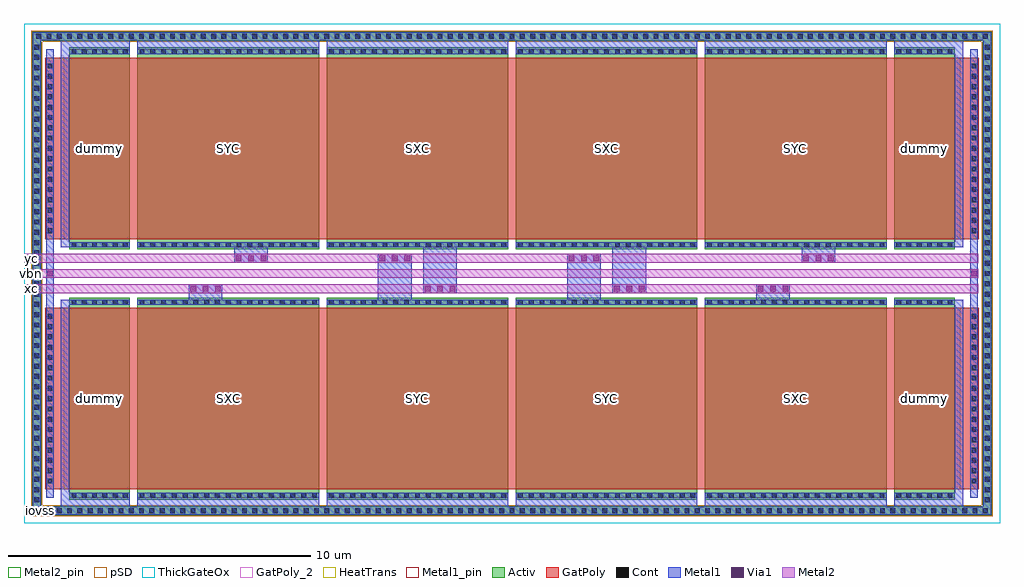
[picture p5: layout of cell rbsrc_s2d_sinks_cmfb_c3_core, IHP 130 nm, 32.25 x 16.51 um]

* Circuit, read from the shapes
.subckt rbsrc_s2d_sinks_cmfb_c3_core iovss vbn xc yc
XM1 iovss vbn iovss iovss sg13_hv_nmos w=2u l=6u m=4
XM2 xc vbn iovss iovss sg13_hv_nmos w=6u l=6u m=4
XM3 iovss vbn yc iovss sg13_hv_nmos w=6u l=6u m=4
.ends

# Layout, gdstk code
from math import pi, radians
import gdstk
lib = gdstk.Library(unit=1e-6, precision=1e-09)
def R(c, l, rs):  # rectangles x0, y0, x1, y1
    for r in rs: c.add(gdstk.rectangle(r[:2], r[2:], *l))
def A(c, l, x, y, w, h, nx, ny, dx, dy):  # array of equal rectangles
    R(c, l, [(x+i*dx, y+j*dy, x+i*dx+w, y+j*dy+h) for i in range(nx) for j in range(ny)])
Activ = (1, 0)
GatPoly = (5, 0)
GatPoly_2 = (5, 2)
Cont = (6, 0)
Metal1 = (8, 0)
Metal1_pin = (8, 2)
Metal2 = (10, 0)
Metal2_pin = (10, 2)
pSD = (14, 0)
Via1 = (19, 0)
ThickGateOx = (44, 0)
HeatTrans = (51, 0)

rbsrc_nhv_w6_l6 = lib.new_cell('rbsrc_nhv_w6_l6')
R(rbsrc_nhv_w6_l6, Activ, [(0,0,0.3,0.3), (0,0,6.68,6), (6.38,0,6.68,0.3)])
R(rbsrc_nhv_w6_l6, GatPoly, [(0.34,-0.18,6.34,6.18)])
R(rbsrc_nhv_w6_l6, GatPoly_2, [(0.34,-0.18,6.34,6.18)])
A(rbsrc_nhv_w6_l6, Cont, 0.07, 0.07, 0.16, 0.16, 1, 4, 0, 0.355)
A(rbsrc_nhv_w6_l6, Cont, 6.45, 0.07, 0.16, 0.16, 1, 4, 0, 0.355)
A(rbsrc_nhv_w6_l6, Cont, 0.07, 1.495, 0.16, 0.16, 1, 4, 0, 0.355)
A(rbsrc_nhv_w6_l6, Cont, 6.45, 1.495, 0.16, 0.16, 1, 4, 0, 0.355)
A(rbsrc_nhv_w6_l6, Cont, 0.07, 2.92, 0.16, 0.16, 1, 4, 0, 0.355)
A(rbsrc_nhv_w6_l6, Cont, 6.45, 2.92, 0.16, 0.16, 1, 4, 0, 0.355)
A(rbsrc_nhv_w6_l6, Cont, 0.07, 4.345, 0.16, 0.16, 1, 4, 0, 0.355)
A(rbsrc_nhv_w6_l6, Cont, 6.45, 4.345, 0.16, 0.16, 1, 4, 0, 0.355)
R(rbsrc_nhv_w6_l6, Cont, [(0.07,5.77,0.23,5.93), (6.45,5.77,6.61,5.93)])
R(rbsrc_nhv_w6_l6, Metal1, [(0.07,0,0.23,6), (6.45,0,6.61,6)])
R(rbsrc_nhv_w6_l6, Metal1_pin, [(0.07,0,0.23,6), (6.45,0,6.61,6)])
R(rbsrc_nhv_w6_l6, ThickGateOx, [(-0.27,-0.52,6.95,6.52)])
R(rbsrc_nhv_w6_l6, HeatTrans, [(0.34,-0.18,6.34,6.18)])
rbsrc_nhv_w6_l6.add(gdstk.Label('nmosHV', (3.34,3), layer=63, texttype=0))
rbsrc_nhv_w6_l6.add(gdstk.Label('nmosHV', (3.34,3), layer=51, texttype=0))

rbsrc_nhv_w2_l6 = lib.new_cell('rbsrc_nhv_w2_l6')
R(rbsrc_nhv_w2_l6, Activ, [(0,0,0.3,0.3), (0,0,6.68,2), (6.38,0,6.68,0.3)])
R(rbsrc_nhv_w2_l6, GatPoly, [(0.34,-0.18,6.34,2.18)])
R(rbsrc_nhv_w2_l6, GatPoly_2, [(0.34,-0.18,6.34,2.18)])
A(rbsrc_nhv_w2_l6, Cont, 0.07, 0.07, 0.16, 0.16, 1, 6, 0, 0.34)
A(rbsrc_nhv_w2_l6, Cont, 6.45, 0.07, 0.16, 0.16, 1, 6, 0, 0.34)
R(rbsrc_nhv_w2_l6, Metal1, [(0.07,0,0.23,2), (6.45,0,6.61,2)])
R(rbsrc_nhv_w2_l6, Metal1_pin, [(0.07,0,0.23,2), (6.45,0,6.61,2)])
R(rbsrc_nhv_w2_l6, ThickGateOx, [(-0.27,-0.52,6.95,2.52)])
R(rbsrc_nhv_w2_l6, HeatTrans, [(0.34,-0.18,6.34,2.18)])
rbsrc_nhv_w2_l6.add(gdstk.Label('nmosHV', (3.34,1), layer=63, texttype=0))
rbsrc_nhv_w2_l6.add(gdstk.Label('nmosHV', (3.34,1), layer=51, texttype=0))

rbsrc_s2d_sinks_cmfb_c3_ = lib.new_cell('rbsrc_s2d_sinks_cmfb_c3_core')
R(rbsrc_s2d_sinks_cmfb_c3_, Activ, [(-1.23,-0.51,30.48,-0.21), (-1.23,-0.51,-0.93,15.46), (30.18,-0.51,30.48,15.46), (-1.23,15.16,30.48,15.46)])
R(rbsrc_s2d_sinks_cmfb_c3_, GatPoly, [(-0.79,0.34,-0.1,6.34), (29.35,0.34,30.04,6.34), (-0.79,8.61,-0.1,14.61), (29.35,8.61,30.04,14.61)])
A(rbsrc_s2d_sinks_cmfb_c3_, Cont, -1.095, -0.44, 0.16, 0.16, 93, 2, 0.34, 15.67)
A(rbsrc_s2d_sinks_cmfb_c3_, Cont, -1.16, -0.085, 0.16, 0.16, 1, 45, 0, 0.34)
A(rbsrc_s2d_sinks_cmfb_c3_, Cont, 30.25, -0.085, 0.16, 0.16, 1, 45, 0, 0.34)
A(rbsrc_s2d_sinks_cmfb_c3_, Cont, -0.72, 0.54, 0.16, 0.16, 1, 17, 0, 0.34)
A(rbsrc_s2d_sinks_cmfb_c3_, Cont, 29.81, 0.54, 0.16, 0.16, 1, 17, 0, 0.34)
A(rbsrc_s2d_sinks_cmfb_c3_, Cont, -0.72, 8.81, 0.16, 0.16, 1, 17, 0, 0.34)
A(rbsrc_s2d_sinks_cmfb_c3_, Cont, 29.81, 8.81, 0.16, 0.16, 1, 17, 0, 0.34)
A(rbsrc_s2d_sinks_cmfb_c3_, Metal1, 2.25, -0.23, 6, 0.46, 4, 2, 6.25, 14.95)
R(rbsrc_s2d_sinks_cmfb_c3_, Metal1, [(-1.21,-0.49,30.46,-0.23), (-1.21,-0.49,-0.95,15.44), (30.2,-0.49,30.46,15.44), (-0.29,-0.23,0,6.61), (0,-0.23,2,0.23), (27.25,-0.23,29.25,0.23), (29.25,-0.23,29.54,6.61), (-0.77,0.07,-0.51,14.88), (29.76,0.07,30.02,14.88), (3.945,6.45,5.055,7.12), (10.195,6.45,11.305,8.12), (16.445,6.45,17.555,8.12), (22.695,6.45,23.805,7.12), (11.695,6.83,12.805,8.5), (17.945,6.83,19.055,8.5), (5.445,7.83,6.555,8.5), (24.195,7.83,25.305,8.5), (-0.29,8.34,0,15.18), (29.25,8.34,29.54,15.18), (0,14.72,2,15.18), (27.25,14.72,29.25,15.18), (-1.21,15.18,30.46,15.44)])
R(rbsrc_s2d_sinks_cmfb_c3_, Metal1_pin, [(-1.21,-0.49,-0.71,-0.23)])
A(rbsrc_s2d_sinks_cmfb_c3_, Metal2, -1.5, 6.83, 31.535, 0.29, 1, 3, 0, 0.5)
A(rbsrc_s2d_sinks_cmfb_c3_, Metal2_pin, -1.5, 6.83, 0.5, 0.29, 1, 3, 0, 0.5)
R(rbsrc_s2d_sinks_cmfb_c3_, pSD, [(-1.26,-0.54,30.51,-0.18), (-1.26,-0.54,-0.9,15.49), (30.15,-0.54,30.51,15.49), (-1.26,15.13,30.51,15.49)])
A(rbsrc_s2d_sinks_cmfb_c3_, Via1, 3.995, 6.88, 0.19, 0.19, 3, 1, 0.41, 0)
A(rbsrc_s2d_sinks_cmfb_c3_, Via1, 11.745, 6.88, 0.19, 0.19, 3, 1, 0.41, 0)
A(rbsrc_s2d_sinks_cmfb_c3_, Via1, 17.995, 6.88, 0.19, 0.19, 3, 1, 0.41, 0)
A(rbsrc_s2d_sinks_cmfb_c3_, Via1, 22.745, 6.88, 0.19, 0.19, 3, 1, 0.41, 0)
A(rbsrc_s2d_sinks_cmfb_c3_, Via1, 5.495, 7.88, 0.19, 0.19, 3, 1, 0.41, 0)
A(rbsrc_s2d_sinks_cmfb_c3_, Via1, 10.245, 7.88, 0.19, 0.19, 3, 1, 0.41, 0)
A(rbsrc_s2d_sinks_cmfb_c3_, Via1, 16.495, 7.88, 0.19, 0.19, 3, 1, 0.41, 0)
A(rbsrc_s2d_sinks_cmfb_c3_, Via1, 24.245, 7.88, 0.19, 0.19, 3, 1, 0.41, 0)
R(rbsrc_s2d_sinks_cmfb_c3_, Via1, [(-0.735,7.38,-0.545,7.57), (29.795,7.38,29.985,7.57)])
R(rbsrc_s2d_sinks_cmfb_c3_, ThickGateOx, [(-1.5,-0.78,30.75,15.73)])
rbsrc_s2d_sinks_cmfb_c3_.add(gdstk.Reference(rbsrc_nhv_w6_l6, (2.25,6.68), rotation=3*pi/2))
rbsrc_s2d_sinks_cmfb_c3_.add(gdstk.Reference(rbsrc_nhv_w6_l6, (8.5,6.68), rotation=3*pi/2))
rbsrc_s2d_sinks_cmfb_c3_.add(gdstk.Reference(rbsrc_nhv_w6_l6, (2.25,14.95), rotation=3*pi/2))
rbsrc_s2d_sinks_cmfb_c3_.add(gdstk.Reference(rbsrc_nhv_w6_l6, (8.5,14.95), rotation=3*pi/2))
rbsrc_s2d_sinks_cmfb_c3_.add(gdstk.Reference(rbsrc_nhv_w6_l6, (20.75,6.68), rotation=3*pi/2, x_reflection=True))
rbsrc_s2d_sinks_cmfb_c3_.add(gdstk.Reference(rbsrc_nhv_w6_l6, (27,6.68), rotation=3*pi/2, x_reflection=True))
rbsrc_s2d_sinks_cmfb_c3_.add(gdstk.Reference(rbsrc_nhv_w6_l6, (20.75,14.95), rotation=3*pi/2, x_reflection=True))
rbsrc_s2d_sinks_cmfb_c3_.add(gdstk.Reference(rbsrc_nhv_w6_l6, (27,14.95), rotation=3*pi/2, x_reflection=True))
rbsrc_s2d_sinks_cmfb_c3_.add(gdstk.Reference(rbsrc_nhv_w2_l6, (0,6.68), rotation=3*pi/2))
rbsrc_s2d_sinks_cmfb_c3_.add(gdstk.Reference(rbsrc_nhv_w2_l6, (0,14.95), rotation=3*pi/2))
rbsrc_s2d_sinks_cmfb_c3_.add(gdstk.Reference(rbsrc_nhv_w2_l6, (29.25,6.68), rotation=3*pi/2, x_reflection=True))
rbsrc_s2d_sinks_cmfb_c3_.add(gdstk.Reference(rbsrc_nhv_w2_l6, (29.25,14.95), rotation=3*pi/2, x_reflection=True))
rbsrc_s2d_sinks_cmfb_c3_.add(gdstk.Label('dummy', (1,3.34), layer=63, texttype=0))
rbsrc_s2d_sinks_cmfb_c3_.add(gdstk.Label('SXC', (5.25,3.34), layer=63, texttype=0))
rbsrc_s2d_sinks_cmfb_c3_.add(gdstk.Label('SYC', (11.5,3.34), layer=63, texttype=0))
rbsrc_s2d_sinks_cmfb_c3_.add(gdstk.Label('SYC', (17.75,3.34), layer=63, texttype=0))
rbsrc_s2d_sinks_cmfb_c3_.add(gdstk.Label('SXC', (24,3.34), layer=63, texttype=0))
rbsrc_s2d_sinks_cmfb_c3_.add(gdstk.Label('dummy', (28.25,3.34), layer=63, texttype=0))
rbsrc_s2d_sinks_cmfb_c3_.add(gdstk.Label('dummy', (1,11.61), layer=63, texttype=0))
rbsrc_s2d_sinks_cmfb_c3_.add(gdstk.Label('SYC', (5.25,11.61), layer=63, texttype=0))
rbsrc_s2d_sinks_cmfb_c3_.add(gdstk.Label('SXC', (11.5,11.61), layer=63, texttype=0))
rbsrc_s2d_sinks_cmfb_c3_.add(gdstk.Label('SXC', (17.75,11.61), layer=63, texttype=0))
rbsrc_s2d_sinks_cmfb_c3_.add(gdstk.Label('SYC', (24,11.61), layer=63, texttype=0))
rbsrc_s2d_sinks_cmfb_c3_.add(gdstk.Label('dummy', (28.25,11.61), layer=63, texttype=0))
rbsrc_s2d_sinks_cmfb_c3_.add(gdstk.Label('iovss', (-0.96,-0.36), layer=8, texttype=25))
rbsrc_s2d_sinks_cmfb_c3_.add(gdstk.Label('xc', (-1.25,6.975), layer=10, texttype=25))
rbsrc_s2d_sinks_cmfb_c3_.add(gdstk.Label('vbn', (-1.25,7.475), layer=10, texttype=25))
rbsrc_s2d_sinks_cmfb_c3_.add(gdstk.Label('yc', (-1.25,7.975), layer=10, texttype=25))

lib.write_gds('rbsrc_s2d_sinks_cmfb_c3_core.gds')
